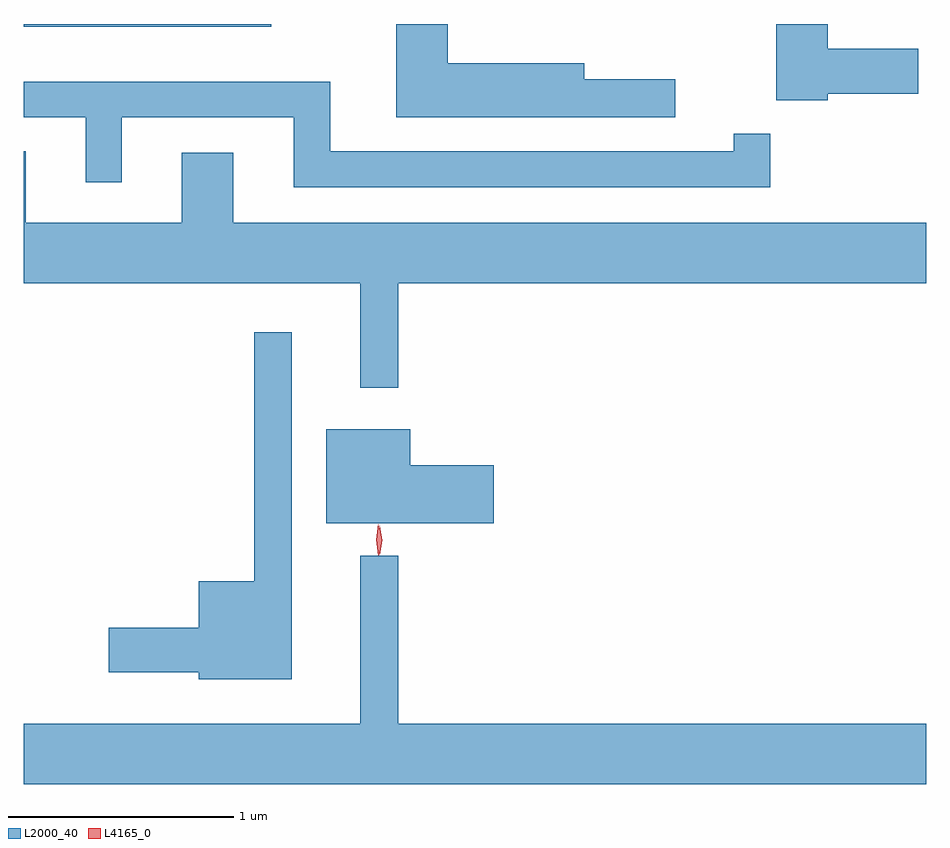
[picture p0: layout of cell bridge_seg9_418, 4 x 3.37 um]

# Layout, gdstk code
import gdstk
lib = gdstk.Library(unit=1e-6, precision=1e-09)
def R(c, l, rs):  # rectangles x0, y0, x1, y1
    for r in rs: c.add(gdstk.rectangle(r[:2], r[2:], *l))
def P(c, l, *ps):  # polygons
    for p in ps: c.add(gdstk.Polygon(p, *l))
L2000_40 = (2000, 40)
L4165_0 = (4165, 0)

bridge_seg9_418 = lib.new_cell('bridge_seg9_418')
R(bridge_seg9_418, L2000_40, [(384.72,2081.751,385.818,2081.764)])
P(bridge_seg9_418, L2000_40, [(388.284,2081.456),(388.684,2081.456),(388.684,2081.654),(388.284,2081.654),(388.284,2081.764),(388.056,2081.764),(388.056,2081.426),(388.284,2081.426)],
  [(387.608,2081.519),(387.204,2081.519),(387.204,2081.589),(386.599,2081.589),(386.599,2081.764),(386.371,2081.764),(386.371,2081.351),(387.608,2081.351)],
  [(388.029,2081.278),(387.866,2081.278),(387.866,2081.199),(386.079,2081.199),(386.079,2081.509),(384.72,2081.509),(384.72,2081.351),(384.996,2081.351),(384.996,2081.063),(385.154,2081.063),(385.154,2081.351),(385.916,2081.351),(385.916,2081.041),(388.029,2081.041)],
  [(385.649,2081.194),(385.421,2081.194),(385.421,2080.884),(384.729,2080.884),(384.729,2081.199),(384.72,2081.199),(384.72,2080.616),(386.211,2080.616),(386.211,2080.153),(386.379,2080.153),(386.379,2080.616),(388.72,2080.616),(388.72,2080.884),(385.649,2080.884)],
  [(385.909,2080.398),(385.741,2080.398),(385.741,2079.294),(385.496,2079.294),(385.496,2079.089),(385.096,2079.089),(385.096,2078.891),(385.496,2078.891),(385.496,2078.861),(385.909,2078.861)],
  [(386.804,2079.809),(386.434,2079.809),(386.434,2079.969),(386.061,2079.969),(386.061,2079.551),(386.804,2079.551)],
  [(388.72,2078.664),(386.379,2078.664),(386.379,2079.408),(386.211,2079.408),(386.211,2078.664),(384.72,2078.664),(384.72,2078.396),(388.72,2078.396)])
P(bridge_seg9_418, L4165_0, [(386.292,2079.41),(386.282,2079.478),(386.291,2079.546),(386.292,2079.546),(386.292,2079.546),(386.302,2079.478),(386.293,2079.41),(386.293,2079.41)],
  [(386.297,2079.413),(386.288,2079.476),(386.297,2079.539),(386.298,2079.54),(386.298,2079.539),(386.308,2079.476),(386.298,2079.413),(386.298,2079.413)])

lib.write_gds('bridge_seg9_418.gds')
